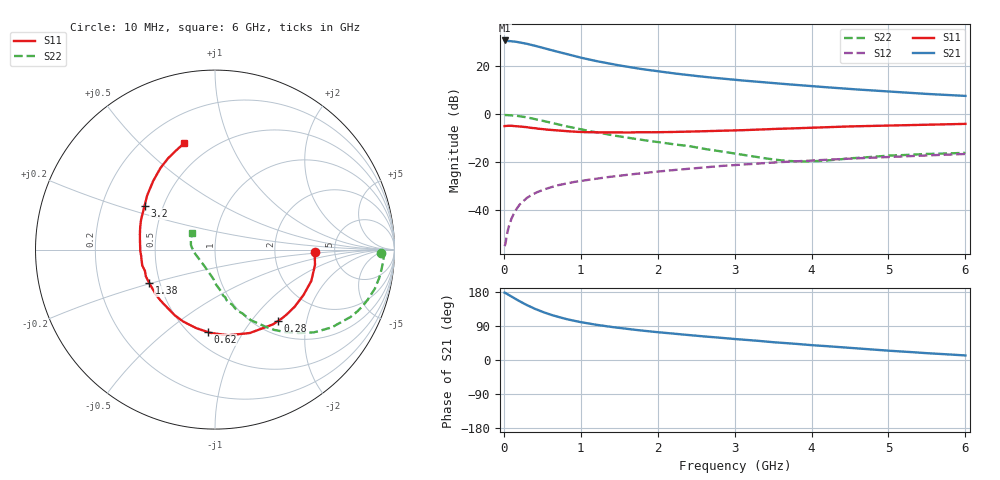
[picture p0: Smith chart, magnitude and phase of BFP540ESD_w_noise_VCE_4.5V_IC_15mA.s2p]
! Infineon Technologies  Discrete & RF Semiconductors
! BFP540ESD
! VCE =  4.5 V,  IC =  15 mA
! Common Emitter S-Parameters:  Nov 2015
# GHz  S  MA  R  50
!  f  S11  S21  S12  S22
! GHz  MAG  ANG  MAG  ANG  MAG  ANG  MAG  ANG
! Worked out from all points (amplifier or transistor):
!   210 points, 10 MHz to 6 GHz, reference 50 ohm
!   highest |S21| = 30.4 dB at 10 MHz (marker M1)
!   |S21| within 3 dB of that: start of sweep to 504.6 MHz
!   unconditionally stable (mu >= 1): start of sweep to 22.58 MHz; 2.389 GHz to end of sweep
!   at 185 MHz: K = 0.30, MSG = 34.1 dB, |S12| = -38.5 dB
!   at 1.52 GHz: K = 0.83, MSG = 22.8 dB, |S12| = -25.6 dB
!   at 6 GHz: K = 1.13, MAG = 9.9 dB, |S12| = -16.7 dB
!   lowest NFmin = 1.03 dB at 900 MHz
!   S11 on the Smith chart (normalised r, x): 10 MHz: 3.50, -0.11; 280 MHz: 1.23, -1.37; 620 MHz: 0.61, -0.71; 1.38 GHz: 0.44, -0.20; 3.2 GHz: 0.39, +0.24; 6 GHz: 0.36, +0.69
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0.01  0.5561 -1.1  33.11 177.6  0.0018 28.1  0.9256 -1.2
0.02  0.5568 -3.5  32.45 176.9  0.002 33.6  0.9432 -1.6
0.05  0.5637 -8.7  32.4 173.1  0.0037 58.8  0.9386 -4.5
0.1  0.5643 -18.0  31.89 167.2  0.0067 67.9  0.9303 -9.3
0.155  0.5531 -27.9  31.16 160.7  0.01 72.3  0.9137 -14.3
0.22  0.5413 -39.0  29.89 153.4  0.0138 69.4  0.8847 -20.1
0.28  0.5301 -48.9  28.63 147.0  0.0169 67.7  0.8536 -24.9
0.4  0.5037 -67.3  25.82 135.4  0.0224 64.0  0.7824 -33.6
0.5  0.4827 -81.2  23.55 127.1  0.0262 61.9  0.7186 -39.9
0.62  0.4606 -95.2  20.82 118.9  0.0302 58.5  0.6482 -45.7
0.8  0.4381 -113.9  17.48 108.6  0.0356 55.8  0.5559 -53.6
1.02  0.4176 -131.1  14.34 99.2  0.0407 54.0  0.4684 -60.3
1.2  0.4135 -143.5  12.4 93.0  0.0447 53.3  0.4125 -64.9
1.38  0.411 -152.9  10.92 87.8  0.0492 52.0  0.3661 -69.4
1.7  0.4149 -167.6  8.924 79.7  0.0564 51.3  0.3035 -75.8
2.02  0.4164 -179.3  7.528 73.0  0.0637 49.5  0.2575 -80.2
2.6  0.4359 162.9  5.837 62.2  0.0769 46.6  0.1873 -89.9
3.1  0.4567 150.5  4.902 53.9  0.0885 43.4  0.1416 -100.4
3.2  0.4623 148.1  4.751 52.4  0.0908 42.6  0.1335 -104.0
4.1  0.5202 130.3  3.639 37.9  0.1094 35.7  0.1053 -155.8
5.1  0.5766 115.8  2.832 23.4  0.1292 27.8  0.1375 167.1
6  0.6172 106.1  2.346 12.0  0.1469 21.6  0.155 144.2
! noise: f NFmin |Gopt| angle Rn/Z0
0.9  1.03  0.22  -135  0.11
1.8  1.2  0.25  -147  0.1
2.4  1.21  0.25  -139  0.1
3  1.32  0.29  -136  0.11
4  1.4  0.41  -108  0.2
5  1.57  0.5  -90  0.3
6  1.83  0.54  -91  0.52
